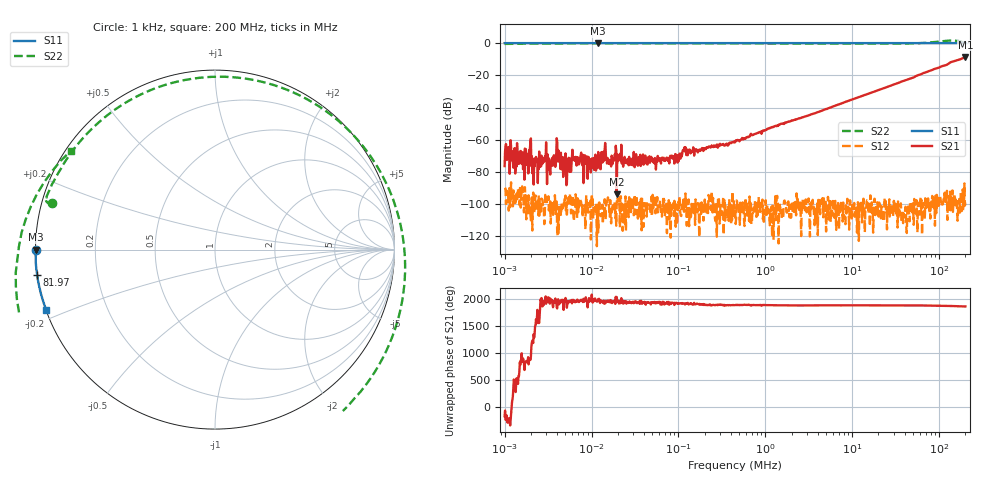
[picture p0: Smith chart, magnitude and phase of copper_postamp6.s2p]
! ListType=Log
# MHZ S RI R 50
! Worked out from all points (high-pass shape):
!   1000 points, 1 kHz to 200 MHz, reference 50 ohm
!   highest |S21| = -8.66 dB at 200 MHz (marker M1); lowest = -93.7 dB at 19.47 kHz (marker M2)
!   |S21| within 3 dB of the highest: 138.7 MHz to end of sweep
!   lowest |S11| = 0.0 dB at 11.95 kHz (marker M3), VSWR 503.22, Z = 0.0994 - j0.00743 ohm
!   |S11| at or under -10 dB: nowhere
!   |S22| runs from -0.5 to 1.7 dB; largest |S21 - S12| = 0.37
!   S11 on the Smith chart (normalised r, x): 1 kHz: 0.00, +0.00; 81.97 MHz: -0.00, -0.07; 200 MHz: 0.00, -0.17
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0.001  -0.9997 0.000326  -0.000149 -3.3e-05  -1.15e-05 -2.99e-05  -0.9089 0.26
0.001063  -1 -0.000669  -0.000198 0.000128  2.29e-05 1.25e-05  -0.9106 0.2596
0.0012925  -0.9999 -0.000744  -0.000144 0.000514  1.4e-05 7.6e-06  -0.9151 0.2581
0.0019344  -0.9997 0.00017  -0.000431 0.000162  -5e-06 -6.4e-06  -0.9247 0.2577
0.0021592  -0.9997 -0.000326  2.6e-06 -4.08e-05  -2.5e-06 -1.9e-05  -0.9277 0.2589
0.0033522  -0.9996 -0.000318  -6.93e-05 -4.66e-05  -1.09e-05 -5.7e-06  -0.936 0.2644
0.0041768  -0.9996 -3.11e-05  -0.000336 0.000316  -9e-07 9e-07  -0.9387 0.2675
0.0048958  -0.9998 -0.0001  -0.000219 0.000106  -4.7e-06 -1.37e-05  -0.9401 0.2701
0.0076941  -0.9996 -6.22e-05  -0.000293 4.7e-05  -2.1e-06 8.4e-06  -0.9422 0.2759
0.011945  -0.996 -0.000296  -0.000382 -0.000174  -1.2e-06 6e-07  -0.9435 0.2782
0.0136633  -0.9997 4.27e-05  -0.00029 0.00031  1.3e-06 -6.2e-06  -0.9426 0.2811
0.0194733  -0.9995 -0.000142  -9.6e-06 -1.82e-05  9.8e-06 -4.4e-06  -0.9424 0.2833
0.0584804  -0.9996 -3.39e-05  -0.000213 0.000149  1.1e-06 -7.5e-06  -0.9406 0.2882
0.4499541  -0.9998 -0.000974  -4.28e-05 0.000879  1.8e-06 7.1e-06  -0.9349 0.303
3.419952  -0.9999 -0.0063  0.000392 0.00623  -1.8e-06 -7.2e-06  -0.8867 0.4028
26.31347  -0.9996 -0.0461  0.003 0.0454  3.6e-06 -3.5e-06  -0.3118 0.9064
50.9003  -0.9972 -0.0882  0.00558 0.086  -1e-07 -2.3e-06  0.4925 0.8486
81.97236  -0.9913 -0.141  0.0201 0.1438  5.3e-06 -7.1e-06  1.057 -0.0223
104.6632  -0.9848 -0.1793  0.0339 0.184  -1.05e-05 -5.5e-06  0.8113 -0.7913
133.6352  -0.9743 -0.2275  0.0536 0.244  -2.39e-05 -5.9e-06  -0.1491 -1.193
166.5079  -0.9596 -0.281  0.1022 0.2846  -7e-06 -1.02e-05  -1.054 -0.491
200  -0.9412 -0.3359  0.1496 0.3371  -1.29e-05 -6.6e-06  -0.8026 0.5506
